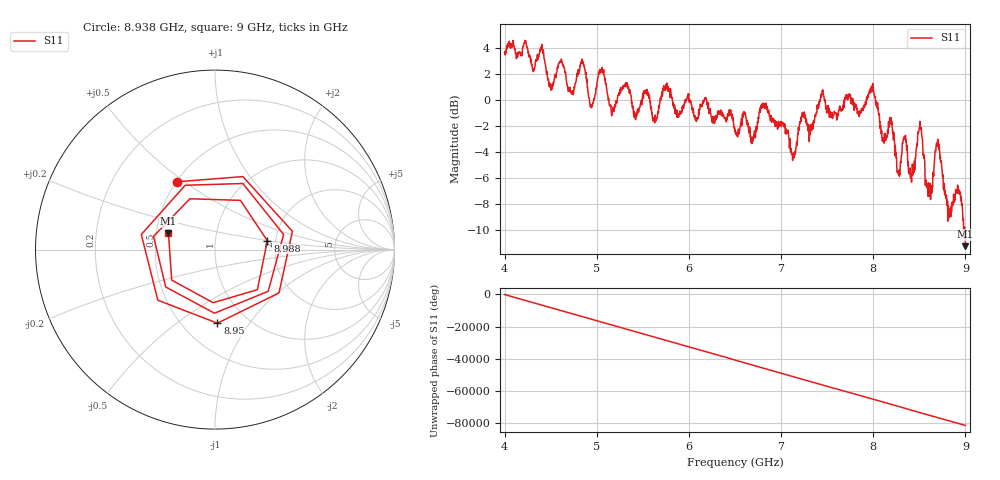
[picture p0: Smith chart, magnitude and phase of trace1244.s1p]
! Created with skrf 1.8.0 (http://scikit-rf.org).
# Hz S RI R 50.0
!freq ReS11 ImS11
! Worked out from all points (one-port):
!   1601 points, 4 GHz to 9 GHz, reference 50 ohm
!   lowest |S11| = -11.2 dB at 9 GHz (marker M1), VSWR 1.76, Z = 29 + j5.66 ohm
!   |S11| at or under -10 dB: 8.980967 GHz to 8.990125 GHz (9.158 MHz wide, 0.102 % of centre); 8.99188 GHz to end of sweep
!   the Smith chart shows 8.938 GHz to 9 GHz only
!   S11 on the Smith chart (normalised r, x): 8.938 GHz: 0.50, +0.47; 8.95 GHz: 0.73, -0.72; 8.988 GHz: 1.81, +0.20; 9 GHz: 0.58, +0.11
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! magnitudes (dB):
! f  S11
! 4 GHz  3.7
! 4.4 GHz  3.9
! 4.506 GHz  0.7
! 4.625 GHz  2.9
! 4.728 GHz  0.5
! 4.85 GHz  2.8
! 4.941 GHz  -0.6
! 5.044 GHz  2.3
! 5.162 GHz  -1.2
! 5.25 GHz  0.5
! 5.875 GHz  -1.0
! 6.5 GHz  -2.3
! 6.825 GHz  -0.7
! 7.125 GHz  -4.7
! 7.441 GHz  0.5
! 7.75 GHz  0.3
! 7.994 GHz  1.3
! 8.269 GHz  -5.6
! 8.375 GHz  -5.0
! 8.428 GHz  -5.8
! 8.509 GHz  -2.0
! 8.597 GHz  -6.5
! 8.697 GHz  -3.3
! 8.825 GHz  -8.4
! 8.938 GHz  -7.3
! 8.95 GHz  -7.7
! 8.988 GHz  -10.6
! 9 GHz  -11.2
